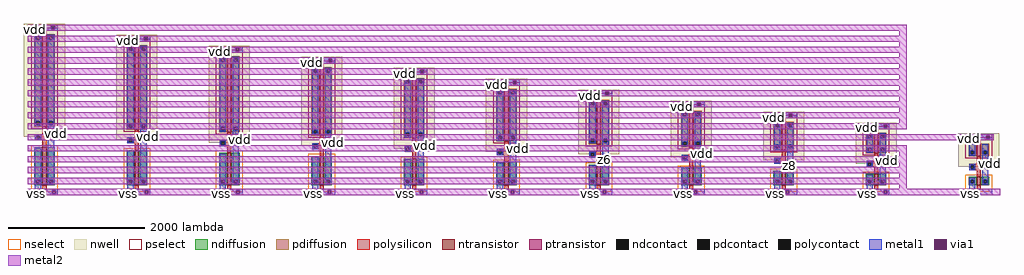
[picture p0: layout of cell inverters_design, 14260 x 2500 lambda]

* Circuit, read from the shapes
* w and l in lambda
.subckt inverters_design a0 a1 a10 a2 a3 a4 a5 a6 a7 a8 a9 vdd vss z0 z1 z10 z2 z3 z4 z5 z6 z7 z8 z9
M1 z0 a0 vss VSUBS nfet w=560 l=60
M2 z1 a1 vss VSUBS nfet w=515 l=60
M3 z2 a2 vss VSUBS nfet w=475 l=60
M4 z3 a3 vss VSUBS nfet w=430 l=60
M5 z4 a4 vss VSUBS nfet w=390 l=60
M6 z5 a5 vss VSUBS nfet w=345 l=60
M7 z6 a6 vss VSUBS nfet w=305 l=60
M8 z7 a7 vss VSUBS nfet w=260 l=60
M9 z8 a8 vss VSUBS nfet w=215 l=60
M10 z9 a9 vss VSUBS nfet w=170 l=60
M11 z10 a10 vss VSUBS nfet w=125 l=60
M12 z0 a0 vdd vdd pfet w=1350 l=60
M13 z1 a1 vdd vdd pfet w=1235 l=60
M14 z2 a2 vdd vdd pfet w=1115 l=60
M15 z3 a3 vdd vdd pfet w=1000 l=60
M16 z4 a4 vdd vdd pfet w=880 l=60
M17 z5 a5 vdd vdd pfet w=765 l=60
M18 z6 a6 vdd vdd pfet w=645 l=60
M19 z7 a7 vdd vdd pfet w=530 l=60
M20 z8 a8 vdd vdd pfet w=415 l=60
M21 z9 a9 vdd vdd pfet w=300 l=60
M22 z10 a10 vdd vdd pfet w=185 l=60
.ends

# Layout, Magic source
magic
tech amic5n
<< nwell >>
rect -105 805 495 2455
rect 1245 760 1845 2295
rect 2595 720 3195 2135
rect 3945 675 4545 1975
rect 5295 635 5895 1815
rect 6645 590 7245 1655
rect 7995 550 8595 1495
rect 9345 505 9945 1335
rect 10695 460 11295 1175
rect 12045 415 12645 1015
rect 13545 370 14145 855
<< ntransistor >>
rect 165 95 225 655
rect 1515 95 1575 610
rect 2865 95 2925 570
rect 4215 95 4275 525
rect 5565 95 5625 485
rect 6915 95 6975 440
rect 8265 95 8325 400
rect 9615 95 9675 355
rect 10965 95 11025 310
rect 12315 95 12375 265
rect 13815 95 13875 220
<< ptransistor >>
rect 165 955 225 2305
rect 1515 910 1575 2145
rect 2865 870 2925 1985
rect 4215 825 4275 1825
rect 5565 785 5625 1665
rect 6915 740 6975 1505
rect 8265 700 8325 1345
rect 9615 655 9675 1185
rect 10965 610 11025 1025
rect 12315 565 12375 865
rect 13815 520 13875 705
<< nselect >>
rect 0 0 390 685
rect 1350 0 1740 640
rect 2700 0 3090 600
rect 4050 0 4440 555
rect 5400 0 5790 515
rect 6750 0 7140 470
rect 8100 0 8490 430
rect 9450 0 9840 385
rect 10800 0 11190 340
rect 12150 0 12540 295
rect 13650 0 14040 250
<< pselect >>
rect 0 925 390 2400
rect 1350 880 1740 2240
rect 2700 840 3090 2080
rect 4050 795 4440 1920
rect 5400 755 5790 1760
rect 6750 710 7140 1600
rect 8100 670 8490 1440
rect 9450 625 9840 1280
rect 10800 580 11190 1120
rect 12150 535 12540 960
rect 13650 490 14040 800
<< ndiffusion >>
rect 45 175 165 655
rect 45 125 75 175
rect 125 125 165 175
rect 45 95 165 125
rect 225 175 345 655
rect 225 125 265 175
rect 315 125 345 175
rect 225 95 345 125
rect 1395 175 1515 610
rect 1395 125 1425 175
rect 1475 125 1515 175
rect 1395 95 1515 125
rect 1575 175 1695 610
rect 1575 125 1615 175
rect 1665 125 1695 175
rect 1575 95 1695 125
rect 2745 175 2865 570
rect 2745 125 2775 175
rect 2825 125 2865 175
rect 2745 95 2865 125
rect 2925 175 3045 570
rect 2925 125 2965 175
rect 3015 125 3045 175
rect 2925 95 3045 125
rect 4095 175 4215 525
rect 4095 125 4125 175
rect 4175 125 4215 175
rect 4095 95 4215 125
rect 4275 175 4395 525
rect 4275 125 4315 175
rect 4365 125 4395 175
rect 4275 95 4395 125
rect 5445 175 5565 485
rect 5445 125 5475 175
rect 5525 125 5565 175
rect 5445 95 5565 125
rect 5625 175 5745 485
rect 5625 125 5665 175
rect 5715 125 5745 175
rect 5625 95 5745 125
rect 6795 175 6915 440
rect 6795 125 6825 175
rect 6875 125 6915 175
rect 6795 95 6915 125
rect 6975 175 7095 440
rect 6975 125 7015 175
rect 7065 125 7095 175
rect 6975 95 7095 125
rect 8145 175 8265 400
rect 8145 125 8175 175
rect 8225 125 8265 175
rect 8145 95 8265 125
rect 8325 175 8445 400
rect 8325 125 8365 175
rect 8415 125 8445 175
rect 8325 95 8445 125
rect 9495 175 9615 355
rect 9495 125 9525 175
rect 9575 125 9615 175
rect 9495 95 9615 125
rect 9675 175 9795 355
rect 9675 125 9715 175
rect 9765 125 9795 175
rect 9675 95 9795 125
rect 10845 175 10965 310
rect 10845 125 10875 175
rect 10925 125 10965 175
rect 10845 95 10965 125
rect 11025 175 11145 310
rect 11025 125 11065 175
rect 11115 125 11145 175
rect 11025 95 11145 125
rect 12195 175 12315 265
rect 12195 125 12225 175
rect 12275 125 12315 175
rect 12195 95 12315 125
rect 12375 175 12495 265
rect 12375 125 12415 175
rect 12465 125 12495 175
rect 12375 95 12495 125
rect 13695 175 13815 220
rect 13695 125 13725 175
rect 13775 125 13815 175
rect 13695 95 13815 125
rect 13875 175 13995 220
rect 13875 125 13915 175
rect 13965 125 13995 175
rect 13875 95 13995 125
<< pdiffusion >>
rect 45 2275 165 2305
rect 45 2225 75 2275
rect 125 2225 165 2275
rect 45 1035 165 2225
rect 45 985 75 1035
rect 125 985 165 1035
rect 45 955 165 985
rect 225 2275 345 2305
rect 225 2225 265 2275
rect 315 2225 345 2275
rect 225 1035 345 2225
rect 225 985 265 1035
rect 315 985 345 1035
rect 225 955 345 985
rect 1395 2115 1515 2145
rect 1395 2065 1425 2115
rect 1475 2065 1515 2115
rect 1395 990 1515 2065
rect 1395 940 1425 990
rect 1475 940 1515 990
rect 1395 910 1515 940
rect 1575 2115 1695 2145
rect 1575 2065 1615 2115
rect 1665 2065 1695 2115
rect 1575 990 1695 2065
rect 1575 940 1615 990
rect 1665 940 1695 990
rect 1575 910 1695 940
rect 2745 1955 2865 1985
rect 2745 1905 2775 1955
rect 2825 1905 2865 1955
rect 2745 950 2865 1905
rect 2745 900 2775 950
rect 2825 900 2865 950
rect 2745 870 2865 900
rect 2925 1955 3045 1985
rect 2925 1905 2965 1955
rect 3015 1905 3045 1955
rect 2925 950 3045 1905
rect 2925 900 2965 950
rect 3015 900 3045 950
rect 2925 870 3045 900
rect 4095 1795 4215 1825
rect 4095 1745 4125 1795
rect 4175 1745 4215 1795
rect 4095 905 4215 1745
rect 4095 855 4125 905
rect 4175 855 4215 905
rect 4095 825 4215 855
rect 4275 1795 4395 1825
rect 4275 1745 4315 1795
rect 4365 1745 4395 1795
rect 4275 905 4395 1745
rect 4275 855 4315 905
rect 4365 855 4395 905
rect 4275 825 4395 855
rect 5445 1635 5565 1665
rect 5445 1585 5475 1635
rect 5525 1585 5565 1635
rect 5445 865 5565 1585
rect 5445 815 5475 865
rect 5525 815 5565 865
rect 5445 785 5565 815
rect 5625 1635 5745 1665
rect 5625 1585 5665 1635
rect 5715 1585 5745 1635
rect 5625 865 5745 1585
rect 5625 815 5665 865
rect 5715 815 5745 865
rect 5625 785 5745 815
rect 6795 1475 6915 1505
rect 6795 1425 6825 1475
rect 6875 1425 6915 1475
rect 6795 820 6915 1425
rect 6795 770 6825 820
rect 6875 770 6915 820
rect 6795 740 6915 770
rect 6975 1475 7095 1505
rect 6975 1425 7015 1475
rect 7065 1425 7095 1475
rect 6975 820 7095 1425
rect 6975 770 7015 820
rect 7065 770 7095 820
rect 6975 740 7095 770
rect 8145 1315 8265 1345
rect 8145 1265 8175 1315
rect 8225 1265 8265 1315
rect 8145 780 8265 1265
rect 8145 730 8175 780
rect 8225 730 8265 780
rect 8145 700 8265 730
rect 8325 1315 8445 1345
rect 8325 1265 8365 1315
rect 8415 1265 8445 1315
rect 8325 780 8445 1265
rect 8325 730 8365 780
rect 8415 730 8445 780
rect 8325 700 8445 730
rect 9495 1155 9615 1185
rect 9495 1105 9525 1155
rect 9575 1105 9615 1155
rect 9495 735 9615 1105
rect 9495 685 9525 735
rect 9575 685 9615 735
rect 9495 655 9615 685
rect 9675 1155 9795 1185
rect 9675 1105 9715 1155
rect 9765 1105 9795 1155
rect 9675 735 9795 1105
rect 9675 685 9715 735
rect 9765 685 9795 735
rect 9675 655 9795 685
rect 10845 995 10965 1025
rect 10845 945 10875 995
rect 10925 945 10965 995
rect 10845 690 10965 945
rect 10845 640 10875 690
rect 10925 640 10965 690
rect 10845 610 10965 640
rect 11025 995 11145 1025
rect 11025 945 11065 995
rect 11115 945 11145 995
rect 11025 690 11145 945
rect 11025 640 11065 690
rect 11115 640 11145 690
rect 11025 610 11145 640
rect 12195 835 12315 865
rect 12195 785 12225 835
rect 12275 785 12315 835
rect 12195 645 12315 785
rect 12195 595 12225 645
rect 12275 595 12315 645
rect 12195 565 12315 595
rect 12375 835 12495 865
rect 12375 785 12415 835
rect 12465 785 12495 835
rect 12375 645 12495 785
rect 12375 595 12415 645
rect 12465 595 12495 645
rect 12375 565 12495 595
rect 13695 600 13815 705
rect 13695 550 13725 600
rect 13775 550 13815 600
rect 13695 520 13815 550
rect 13875 600 13995 705
rect 13875 550 13915 600
rect 13965 550 13995 600
rect 13875 520 13995 550
<< ndcontact >>
rect 75 125 125 175
rect 265 125 315 175
rect 1425 125 1475 175
rect 1615 125 1665 175
rect 2775 125 2825 175
rect 2965 125 3015 175
rect 4125 125 4175 175
rect 4315 125 4365 175
rect 5475 125 5525 175
rect 5665 125 5715 175
rect 6825 125 6875 175
rect 7015 125 7065 175
rect 8175 125 8225 175
rect 8365 125 8415 175
rect 9525 125 9575 175
rect 9715 125 9765 175
rect 10875 125 10925 175
rect 11065 125 11115 175
rect 12225 125 12275 175
rect 12415 125 12465 175
rect 13725 125 13775 175
rect 13915 125 13965 175
<< pdcontact >>
rect 75 2225 125 2275
rect 75 985 125 1035
rect 265 2225 315 2275
rect 265 985 315 1035
rect 1425 2065 1475 2115
rect 1425 940 1475 990
rect 1615 2065 1665 2115
rect 1615 940 1665 990
rect 2775 1905 2825 1955
rect 2775 900 2825 950
rect 2965 1905 3015 1955
rect 2965 900 3015 950
rect 4125 1745 4175 1795
rect 4125 855 4175 905
rect 4315 1745 4365 1795
rect 4315 855 4365 905
rect 5475 1585 5525 1635
rect 5475 815 5525 865
rect 5665 1585 5715 1635
rect 5665 815 5715 865
rect 6825 1425 6875 1475
rect 6825 770 6875 820
rect 7015 1425 7065 1475
rect 7015 770 7065 820
rect 8175 1265 8225 1315
rect 8175 730 8225 780
rect 8365 1265 8415 1315
rect 8365 730 8415 780
rect 9525 1105 9575 1155
rect 9525 685 9575 735
rect 9715 1105 9765 1155
rect 9715 685 9765 735
rect 10875 945 10925 995
rect 10875 640 10925 690
rect 11065 945 11115 995
rect 11065 640 11115 690
rect 12225 785 12275 835
rect 12225 595 12275 645
rect 12415 785 12465 835
rect 12415 595 12465 645
rect 13725 550 13775 600
rect 13915 550 13965 600
<< polysilicon >>
rect 165 2305 225 2370
rect 1515 2145 1575 2210
rect 165 845 225 955
rect 2865 1985 2925 2050
rect 55 825 225 845
rect 55 775 75 825
rect 125 775 225 825
rect 1515 800 1575 910
rect 4215 1825 4275 1890
rect 55 755 225 775
rect 165 655 225 755
rect 1405 780 1575 800
rect 1405 730 1425 780
rect 1475 730 1575 780
rect 2865 760 2925 870
rect 5565 1665 5625 1730
rect 1405 710 1575 730
rect 1515 610 1575 710
rect 2755 740 2925 760
rect 2755 690 2775 740
rect 2825 690 2925 740
rect 4215 715 4275 825
rect 6915 1505 6975 1570
rect 2755 670 2925 690
rect 2865 570 2925 670
rect 4105 695 4275 715
rect 4105 645 4125 695
rect 4175 645 4275 695
rect 5565 675 5625 785
rect 8265 1345 8325 1410
rect 4105 625 4275 645
rect 4215 525 4275 625
rect 5455 655 5625 675
rect 5455 605 5475 655
rect 5525 605 5625 655
rect 6915 630 6975 740
rect 9615 1185 9675 1250
rect 5455 585 5625 605
rect 5565 485 5625 585
rect 6805 610 6975 630
rect 6805 560 6825 610
rect 6875 560 6975 610
rect 8265 590 8325 700
rect 10965 1025 11025 1090
rect 6805 540 6975 560
rect 6915 440 6975 540
rect 8155 570 8325 590
rect 8155 520 8175 570
rect 8225 520 8325 570
rect 9615 545 9675 655
rect 12315 865 12375 930
rect 8155 500 8325 520
rect 8265 400 8325 500
rect 9505 525 9675 545
rect 9505 475 9525 525
rect 9575 475 9675 525
rect 10965 500 11025 610
rect 13815 705 13875 770
rect 9505 455 9675 475
rect 9615 355 9675 455
rect 10855 480 11025 500
rect 10855 430 10875 480
rect 10925 430 11025 480
rect 12315 455 12375 565
rect 10855 410 11025 430
rect 10965 310 11025 410
rect 12205 435 12375 455
rect 12205 385 12225 435
rect 12275 385 12375 435
rect 13815 410 13875 520
rect 12205 365 12375 385
rect 12315 265 12375 365
rect 13705 390 13875 410
rect 13705 340 13725 390
rect 13775 340 13875 390
rect 13705 320 13875 340
rect 13815 220 13875 320
rect 165 30 225 95
rect 1515 30 1575 95
rect 2865 30 2925 95
rect 4215 30 4275 95
rect 5565 30 5625 95
rect 6915 30 6975 95
rect 8265 30 8325 95
rect 9615 30 9675 95
rect 10965 30 11025 95
rect 12315 30 12375 95
rect 13815 30 13875 95
<< polycontact >>
rect 75 775 125 825
rect 1425 730 1475 780
rect 2775 690 2825 740
rect 4125 645 4175 695
rect 5475 605 5525 655
rect 6825 560 6875 610
rect 8175 520 8225 570
rect 9525 475 9575 525
rect 10875 430 10925 480
rect 12225 385 12275 435
rect 13725 340 13775 390
<< metal1 >>
rect 0 2425 390 2445
rect 0 2375 295 2425
rect 345 2375 390 2425
rect 0 2355 390 2375
rect 55 2275 145 2355
rect 55 2225 75 2275
rect 125 2225 145 2275
rect 55 1035 145 2225
rect 55 985 75 1035
rect 125 985 145 1035
rect 55 965 145 985
rect 245 2275 335 2295
rect 245 2225 265 2275
rect 315 2225 335 2275
rect 245 1035 335 2225
rect 1350 2265 1740 2285
rect 1350 2215 1650 2265
rect 1700 2215 1740 2265
rect 1350 2195 1740 2215
rect 245 985 265 1035
rect 315 985 335 1035
rect 55 825 145 845
rect 55 775 75 825
rect 125 775 145 825
rect 55 755 145 775
rect 55 175 145 645
rect 55 125 75 175
rect 125 125 145 175
rect 55 45 145 125
rect 245 175 335 985
rect 1405 2115 1495 2195
rect 1405 2065 1425 2115
rect 1475 2065 1495 2115
rect 1405 990 1495 2065
rect 1405 940 1425 990
rect 1475 940 1495 990
rect 1405 920 1495 940
rect 1595 2115 1685 2135
rect 1595 2065 1615 2115
rect 1665 2065 1685 2115
rect 1595 990 1685 2065
rect 2700 2105 3090 2125
rect 2700 2055 2990 2105
rect 3040 2055 3090 2105
rect 2700 2035 3090 2055
rect 1595 940 1615 990
rect 1665 940 1685 990
rect 1405 780 1495 800
rect 1405 730 1425 780
rect 1475 730 1495 780
rect 1405 710 1495 730
rect 245 125 265 175
rect 315 125 335 175
rect 245 105 335 125
rect 1405 175 1495 600
rect 1405 125 1425 175
rect 1475 125 1495 175
rect 1405 45 1495 125
rect 1595 175 1685 940
rect 2755 1955 2845 2035
rect 2755 1905 2775 1955
rect 2825 1905 2845 1955
rect 2755 950 2845 1905
rect 2755 900 2775 950
rect 2825 900 2845 950
rect 2755 880 2845 900
rect 2945 1955 3035 1975
rect 2945 1905 2965 1955
rect 3015 1905 3035 1955
rect 2945 950 3035 1905
rect 4050 1945 4440 1965
rect 4050 1895 4345 1945
rect 4395 1895 4440 1945
rect 4050 1875 4440 1895
rect 2945 900 2965 950
rect 3015 900 3035 950
rect 2755 740 2845 760
rect 2755 690 2775 740
rect 2825 690 2845 740
rect 2755 670 2845 690
rect 1595 125 1615 175
rect 1665 125 1685 175
rect 1595 105 1685 125
rect 2755 175 2845 560
rect 2755 125 2775 175
rect 2825 125 2845 175
rect 2755 45 2845 125
rect 2945 175 3035 900
rect 4105 1795 4195 1875
rect 4105 1745 4125 1795
rect 4175 1745 4195 1795
rect 4105 905 4195 1745
rect 4105 855 4125 905
rect 4175 855 4195 905
rect 4105 835 4195 855
rect 4295 1795 4385 1815
rect 4295 1745 4315 1795
rect 4365 1745 4385 1795
rect 4295 905 4385 1745
rect 5400 1785 5790 1805
rect 5400 1735 5685 1785
rect 5735 1735 5790 1785
rect 5400 1715 5790 1735
rect 4295 855 4315 905
rect 4365 855 4385 905
rect 4105 695 4195 715
rect 4105 645 4125 695
rect 4175 645 4195 695
rect 4105 625 4195 645
rect 2945 125 2965 175
rect 3015 125 3035 175
rect 2945 105 3035 125
rect 4105 175 4195 515
rect 4105 125 4125 175
rect 4175 125 4195 175
rect 4105 45 4195 125
rect 4295 175 4385 855
rect 5455 1635 5545 1715
rect 5455 1585 5475 1635
rect 5525 1585 5545 1635
rect 5455 865 5545 1585
rect 5455 815 5475 865
rect 5525 815 5545 865
rect 5455 795 5545 815
rect 5645 1635 5735 1655
rect 5645 1585 5665 1635
rect 5715 1585 5735 1635
rect 5645 865 5735 1585
rect 6750 1625 7140 1645
rect 6750 1575 7040 1625
rect 7090 1575 7140 1625
rect 6750 1555 7140 1575
rect 5645 815 5665 865
rect 5715 815 5735 865
rect 5455 655 5545 675
rect 5455 605 5475 655
rect 5525 605 5545 655
rect 5455 585 5545 605
rect 4295 125 4315 175
rect 4365 125 4385 175
rect 4295 105 4385 125
rect 5455 175 5545 475
rect 5455 125 5475 175
rect 5525 125 5545 175
rect 5455 45 5545 125
rect 5645 175 5735 815
rect 6805 1475 6895 1555
rect 6805 1425 6825 1475
rect 6875 1425 6895 1475
rect 6805 820 6895 1425
rect 6805 770 6825 820
rect 6875 770 6895 820
rect 6805 750 6895 770
rect 6995 1475 7085 1495
rect 6995 1425 7015 1475
rect 7065 1425 7085 1475
rect 6995 820 7085 1425
rect 8100 1465 8490 1485
rect 8100 1415 8385 1465
rect 8435 1415 8490 1465
rect 8100 1395 8490 1415
rect 6995 770 7015 820
rect 7065 770 7085 820
rect 6805 610 6895 630
rect 6805 560 6825 610
rect 6875 560 6895 610
rect 6805 540 6895 560
rect 5645 125 5665 175
rect 5715 125 5735 175
rect 5645 105 5735 125
rect 6805 175 6895 430
rect 6805 125 6825 175
rect 6875 125 6895 175
rect 6805 45 6895 125
rect 6995 175 7085 770
rect 8155 1315 8245 1395
rect 8155 1265 8175 1315
rect 8225 1265 8245 1315
rect 8155 780 8245 1265
rect 8155 730 8175 780
rect 8225 730 8245 780
rect 8155 710 8245 730
rect 8345 1315 8435 1335
rect 8345 1265 8365 1315
rect 8415 1265 8435 1315
rect 8345 780 8435 1265
rect 9450 1305 9840 1325
rect 9450 1255 9735 1305
rect 9785 1255 9840 1305
rect 9450 1235 9840 1255
rect 8345 730 8365 780
rect 8415 730 8435 780
rect 8155 570 8245 590
rect 8155 520 8175 570
rect 8225 520 8245 570
rect 8155 500 8245 520
rect 6995 125 7015 175
rect 7065 125 7085 175
rect 6995 105 7085 125
rect 8155 175 8245 390
rect 8155 125 8175 175
rect 8225 125 8245 175
rect 8155 45 8245 125
rect 8345 175 8435 730
rect 9505 1155 9595 1235
rect 9505 1105 9525 1155
rect 9575 1105 9595 1155
rect 9505 735 9595 1105
rect 9505 685 9525 735
rect 9575 685 9595 735
rect 9505 665 9595 685
rect 9695 1155 9785 1175
rect 9695 1105 9715 1155
rect 9765 1105 9785 1155
rect 9695 735 9785 1105
rect 10800 1145 11190 1165
rect 10800 1095 11070 1145
rect 11120 1095 11190 1145
rect 10800 1075 11190 1095
rect 9695 685 9715 735
rect 9765 685 9785 735
rect 9505 525 9595 545
rect 9505 475 9525 525
rect 9575 475 9595 525
rect 9505 455 9595 475
rect 8345 125 8365 175
rect 8415 125 8435 175
rect 8345 105 8435 125
rect 9505 175 9595 345
rect 9505 125 9525 175
rect 9575 125 9595 175
rect 9505 45 9595 125
rect 9695 175 9785 685
rect 10855 995 10945 1075
rect 10855 945 10875 995
rect 10925 945 10945 995
rect 10855 690 10945 945
rect 10855 640 10875 690
rect 10925 640 10945 690
rect 10855 620 10945 640
rect 11045 995 11135 1015
rect 11045 945 11065 995
rect 11115 945 11135 995
rect 11045 690 11135 945
rect 12150 985 12540 1005
rect 12150 935 12455 985
rect 12505 935 12540 985
rect 12150 915 12540 935
rect 11045 640 11065 690
rect 11115 640 11135 690
rect 10855 480 10945 500
rect 10855 430 10875 480
rect 10925 430 10945 480
rect 10855 410 10945 430
rect 9695 125 9715 175
rect 9765 125 9785 175
rect 9695 105 9785 125
rect 10855 175 10945 300
rect 10855 125 10875 175
rect 10925 125 10945 175
rect 10855 45 10945 125
rect 11045 175 11135 640
rect 12205 835 12295 915
rect 12205 785 12225 835
rect 12275 785 12295 835
rect 12205 645 12295 785
rect 12205 595 12225 645
rect 12275 595 12295 645
rect 12205 575 12295 595
rect 12395 835 12485 855
rect 12395 785 12415 835
rect 12465 785 12485 835
rect 12395 645 12485 785
rect 13650 825 14040 845
rect 13650 775 13955 825
rect 14005 775 14040 825
rect 13650 755 14040 775
rect 12395 595 12415 645
rect 12465 595 12485 645
rect 12205 435 12295 455
rect 12205 385 12225 435
rect 12275 385 12295 435
rect 12205 365 12295 385
rect 11045 125 11065 175
rect 11115 125 11135 175
rect 11045 105 11135 125
rect 12205 175 12295 255
rect 12205 125 12225 175
rect 12275 125 12295 175
rect 12205 45 12295 125
rect 12395 175 12485 595
rect 13705 600 13795 755
rect 13705 550 13725 600
rect 13775 550 13795 600
rect 13705 530 13795 550
rect 13895 600 13985 695
rect 13895 550 13915 600
rect 13965 550 13985 600
rect 13705 390 13795 410
rect 13705 340 13725 390
rect 13775 340 13795 390
rect 13705 320 13795 340
rect 12395 125 12415 175
rect 12465 125 12485 175
rect 12395 105 12485 125
rect 13705 175 13795 210
rect 13705 125 13725 175
rect 13775 125 13795 175
rect 13705 45 13795 125
rect 13895 175 13985 550
rect 13895 125 13915 175
rect 13965 125 13985 175
rect 13895 105 13985 125
rect 0 25 390 45
rect 0 -25 310 25
rect 360 -25 390 25
rect 0 -45 390 -25
rect 1350 25 1740 45
rect 1350 -25 1660 25
rect 1710 -25 1740 25
rect 1350 -45 1740 -25
rect 2700 25 3090 45
rect 2700 -25 2995 25
rect 3045 -25 3090 25
rect 2700 -45 3090 -25
rect 4050 25 4440 45
rect 4050 -25 4335 25
rect 4385 -25 4440 25
rect 4050 -45 4440 -25
rect 5400 25 5790 45
rect 5400 -25 5675 25
rect 5725 -25 5790 25
rect 5400 -45 5790 -25
rect 6750 25 7140 45
rect 6750 -25 7010 25
rect 7060 -25 7140 25
rect 6750 -45 7140 -25
rect 8100 25 8490 45
rect 8100 -25 8350 25
rect 8400 -25 8490 25
rect 8100 -45 8490 -25
rect 9450 25 9840 45
rect 9450 -25 9685 25
rect 9735 -25 9840 25
rect 9450 -45 9840 -25
rect 10800 25 11190 45
rect 10800 -25 11025 25
rect 11075 -25 11190 25
rect 10800 -45 11190 -25
rect 12150 25 12540 45
rect 12150 -25 12460 25
rect 12510 -25 12540 25
rect 12150 -45 12540 -25
rect 13650 -45 14040 45
<< via1 >>
rect 295 2375 345 2425
rect 1650 2215 1700 2265
rect 2990 2055 3040 2105
rect 4345 1895 4395 1945
rect 5685 1735 5735 1785
rect 7040 1575 7090 1625
rect 8385 1415 8435 1465
rect 9735 1255 9785 1305
rect 11070 1095 11120 1145
rect 12455 935 12505 985
rect 13955 775 14005 825
rect 310 -25 360 25
rect 1660 -25 1710 25
rect 2995 -25 3045 25
rect 4335 -25 4385 25
rect 5675 -25 5725 25
rect 7010 -25 7060 25
rect 8350 -25 8400 25
rect 9685 -25 9735 25
rect 11025 -25 11075 25
rect 12460 -25 12510 25
<< metal2 >>
rect -50 2425 12795 2445
rect -50 2375 295 2425
rect 345 2375 12795 2425
rect -50 2355 12795 2375
rect 12685 2285 12795 2355
rect -50 2265 12795 2285
rect -50 2215 1650 2265
rect 1700 2215 12795 2265
rect -50 2195 12795 2215
rect 12685 2125 12795 2195
rect -50 2105 12795 2125
rect -50 2055 2990 2105
rect 3040 2055 12795 2105
rect -50 2035 12795 2055
rect 12685 1965 12795 2035
rect -50 1945 12795 1965
rect -50 1895 4345 1945
rect 4395 1895 12795 1945
rect -50 1875 12795 1895
rect 12685 1805 12795 1875
rect -50 1785 12795 1805
rect -50 1735 5685 1785
rect 5735 1735 12795 1785
rect -50 1715 12795 1735
rect 12685 1645 12795 1715
rect -50 1625 12795 1645
rect -50 1575 7040 1625
rect 7090 1575 12795 1625
rect -50 1555 12795 1575
rect 12685 1485 12795 1555
rect -50 1465 12795 1485
rect -50 1415 8385 1465
rect 8435 1415 12795 1465
rect -50 1395 12795 1415
rect 12685 1325 12795 1395
rect -50 1305 12795 1325
rect -50 1255 9735 1305
rect 9785 1255 12795 1305
rect -50 1235 12795 1255
rect 12685 1165 12795 1235
rect -50 1145 12795 1165
rect -50 1095 11070 1145
rect 11120 1095 12795 1145
rect -50 1075 12795 1095
rect 12685 1005 12795 1075
rect -50 985 12795 1005
rect -50 935 12455 985
rect 12505 935 12795 985
rect -50 915 12795 935
rect -50 825 14065 845
rect -50 775 13955 825
rect 14005 775 14065 825
rect -50 755 14065 775
rect -50 595 12795 685
rect 12685 525 12795 595
rect -50 435 12795 525
rect 12685 365 12795 435
rect -50 275 12795 365
rect 12685 205 12795 275
rect -50 115 12795 205
rect 12685 45 12795 115
rect -50 25 14155 45
rect -50 -25 310 25
rect 360 -25 1660 25
rect 1710 -25 2995 25
rect 3045 -25 4335 25
rect 4385 -25 5675 25
rect 5725 -25 7010 25
rect 7060 -25 8350 25
rect 8400 -25 9685 25
rect 9735 -25 11025 25
rect 11075 -25 12460 25
rect 12510 -25 14155 25
rect -50 -45 14155 -25
<< labels >>
flabel nwell 365 855 365 855 2 FreeSans 400 0 0 0 vdd
flabel metal1 s 65 2375 65 2375 2 FreeSans 400 0 0 0 vdd
port 11 ne
flabel metal1 s 75 -25 75 -25 2 FreeSans 400 0 0 0 vss
port 12 ne
flabel metal1 s 1425 -25 1425 -25 2 FreeSans 400 0 0 0 vss
port 12 ne
flabel metal1 s 2775 -25 2775 -25 2 FreeSans 400 0 0 0 vss
port 12 ne
flabel metal1 s 4125 -25 4125 -25 2 FreeSans 400 0 0 0 vss
port 12 ne
flabel metal1 s 5475 -25 5475 -25 2 FreeSans 400 0 0 0 vss
port 12 ne
flabel metal1 s 6825 -25 6825 -25 2 FreeSans 400 0 0 0 vss
port 12 ne
flabel metal1 s 8175 -25 8175 -25 2 FreeSans 400 0 0 0 vss
port 12 ne
flabel metal1 s 9525 -25 9525 -25 2 FreeSans 400 0 0 0 vss
port 12 ne
flabel metal1 s 10875 -25 10875 -25 2 FreeSans 400 0 0 0 vss
port 12 ne
flabel metal1 s 12225 -25 12225 -25 2 FreeSans 400 0 0 0 vss
port 12 ne
flabel nwell 1715 810 1715 810 2 FreeSans 400 0 0 0 vdd
flabel metal1 s 1415 2215 1415 2215 2 FreeSans 400 0 0 0 vdd
port 11 ne
flabel metal1 s 2765 2055 2765 2055 2 FreeSans 400 0 0 0 vdd
port 11 ne
flabel metal1 s 4115 1895 4115 1895 2 FreeSans 400 0 0 0 vdd
port 11 ne
flabel metal1 s 5465 1735 5465 1735 2 FreeSans 400 0 0 0 vdd
port 11 ne
flabel metal1 s 6815 1575 6815 1575 2 FreeSans 400 0 0 0 vdd
port 11 ne
flabel metal1 s 8165 1415 8165 1415 2 FreeSans 400 0 0 0 vdd
port 11 ne
flabel metal1 s 9515 1255 9515 1255 2 FreeSans 400 0 0 0 vdd
port 11 ne
flabel metal1 s 10865 1095 10865 1095 2 FreeSans 400 0 0 0 vdd
port 11 ne
flabel metal1 s 12215 935 12215 935 2 FreeSans 400 0 0 0 vdd
port 11 ne
rlabel space 1390 690 1490 810 1 help
rlabel space 1390 690 1490 810 1 -h
flabel metal1 s 1425 720 1425 720 2 FreeSans 400 0 0 0 a1
port 1 ne
flabel metal1 s 1625 680 1625 680 2 FreeSans 400 0 0 0 z1
port 14 ne
flabel metal1 s 11075 380 11075 380 2 FreeSans 400 0 0 0 z8
port 22 ne
flabel metal1 s 10875 420 10875 420 2 FreeSans 400 0 0 0 a8
port 9 ne
flabel nwell 11165 510 11165 510 2 FreeSans 400 0 0 0 vdd
flabel nwell 9815 555 9815 555 2 FreeSans 400 0 0 0 vdd
flabel metal1 s 9525 465 9525 465 2 FreeSans 400 0 0 0 a7
port 8 ne
flabel metal1 s 9725 425 9725 425 2 FreeSans 400 0 0 0 z7
port 21 ne
flabel nwell 5765 685 5765 685 2 FreeSans 400 0 0 0 vdd
flabel nwell 7115 640 7115 640 2 FreeSans 400 0 0 0 vdd
flabel metal1 s 5475 595 5475 595 2 FreeSans 400 0 0 0 a4
port 5 ne
flabel metal1 s 5675 555 5675 555 2 FreeSans 400 0 0 0 z4
port 18 ne
flabel metal1 s 6825 550 6825 550 2 FreeSans 400 0 0 0 a5
port 6 ne
flabel metal1 s 7025 510 7025 510 2 FreeSans 400 0 0 0 z5
port 19 ne
flabel nwell 3065 770 3065 770 2 FreeSans 400 0 0 0 vdd
flabel nwell 4415 725 4415 725 2 FreeSans 400 0 0 0 vdd
flabel metal1 s 2775 680 2775 680 2 FreeSans 400 0 0 0 a2
port 3 ne
flabel metal1 s 2975 640 2975 640 2 FreeSans 400 0 0 0 z2
port 16 ne
flabel metal1 s 4125 635 4125 635 2 FreeSans 400 0 0 0 a3
port 4 ne
flabel metal1 s 4325 595 4325 595 2 FreeSans 400 0 0 0 z3
port 17 ne
flabel metal1 s 8375 470 8375 470 2 FreeSans 400 0 0 0 z6
port 20 ne
flabel metal1 s 8175 510 8175 510 2 FreeSans 400 0 0 0 a6
port 7 ne
flabel nwell 8465 600 8465 600 2 FreeSans 400 0 0 0 vdd
flabel nwell 12515 465 12515 465 2 FreeSans 400 0 0 0 vdd
flabel metal1 s 12225 375 12225 375 2 FreeSans 400 0 0 0 a9
port 10 ne
flabel metal1 s 12425 335 12425 335 2 FreeSans 400 0 0 0 z9
port 23 ne
flabel metal1 s 13725 -25 13725 -25 2 FreeSans 400 0 0 0 vss
port 12 ne
flabel metal1 s 13715 775 13715 775 2 FreeSans 400 0 0 0 vdd
port 11 ne
flabel nwell 14015 420 14015 420 2 FreeSans 400 0 0 0 vdd
flabel metal1 s 13725 330 13725 330 2 FreeSans 400 0 0 0 a10
port 2 ne
flabel metal1 s 13925 290 13925 290 2 FreeSans 400 0 0 0 z10
port 15 ne
flabel metal1 s 75 765 75 765 2 FreeSans 400 0 0 0 a0
port 0 ne
flabel metal1 s 275 725 275 725 2 FreeSans 400 0 0 0 z0
port 13 ne
<< end >>
